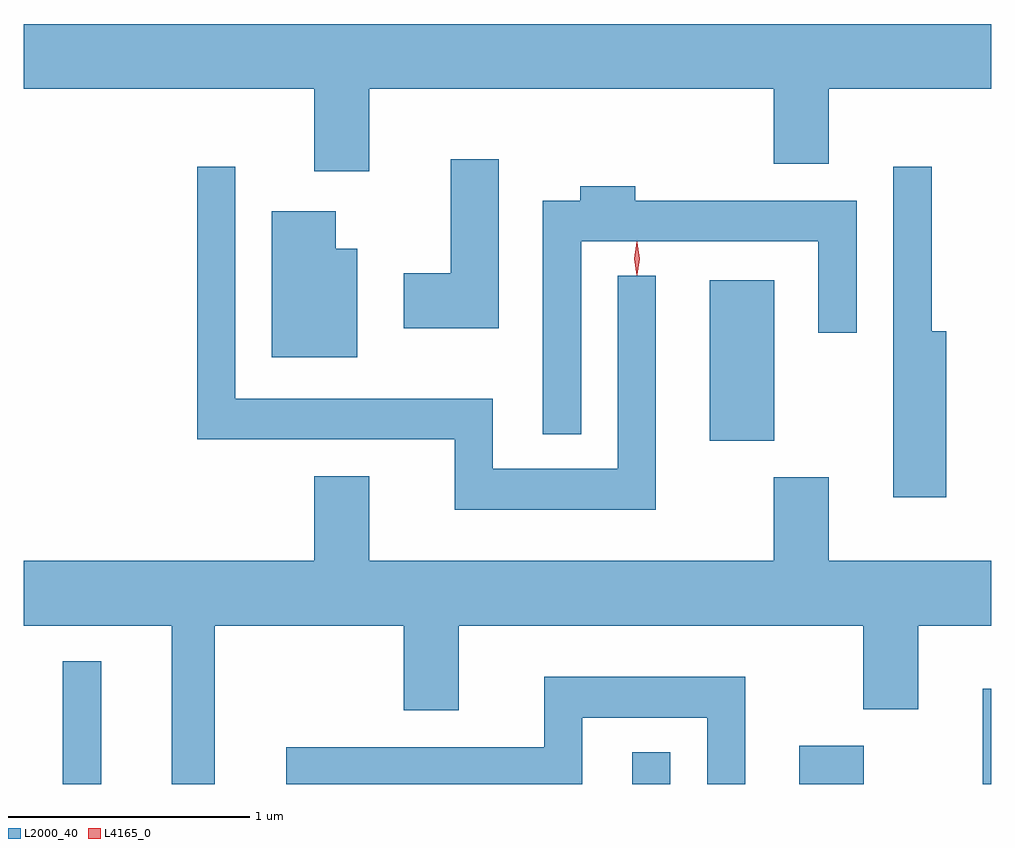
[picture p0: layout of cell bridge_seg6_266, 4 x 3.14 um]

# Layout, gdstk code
import gdstk
lib = gdstk.Library(unit=1e-6, precision=1e-09)
def R(c, l, rs):  # rectangles x0, y0, x1, y1
    for r in rs: c.add(gdstk.rectangle(r[:2], r[2:], *l))
def P(c, l, *ps):  # polygons
    for p in ps: c.add(gdstk.Polygon(p, *l))
L2000_40 = (2000, 40)
L4165_0 = (4165, 0)

bridge_seg6_266 = lib.new_cell('bridge_seg6_266')
R(bridge_seg6_266, L2000_40, [(1288.171,1553.821,1288.329,1554.328), (1290.526,1553.821,1290.684,1553.953), (1291.216,1553.821,1291.484,1553.979), (1291.976,1553.821,1292.01,1554.214), (1290.846,1555.241,1291.114,1555.904)])
P(bridge_seg6_266, L2000_40, [(1289.439,1556.696),(1291.111,1556.696),(1291.111,1556.386),(1291.339,1556.386),(1291.339,1556.696),(1292.01,1556.696),(1292.01,1556.964),(1288.01,1556.964),(1288.01,1556.696),(1289.211,1556.696),(1289.211,1556.356),(1289.439,1556.356)],
  [(1289.974,1556.404),(1289.776,1556.404),(1289.776,1555.934),(1289.581,1555.934),(1289.581,1555.706),(1289.974,1555.706)],
  [(1290.624,1555.923),(1290.466,1555.923),(1290.466,1555.124),(1289.949,1555.124),(1289.949,1555.414),(1288.884,1555.414),(1288.884,1556.373),(1288.726,1556.373),(1288.726,1555.246),(1289.791,1555.246),(1289.791,1554.956),(1290.624,1554.956)],
  [(1291.824,1555.694),(1291.764,1555.694),(1291.764,1556.373),(1291.606,1556.373),(1291.606,1555.006),(1291.824,1555.006)],
  [(1290.314,1556.066),(1291.296,1556.066),(1291.296,1555.688),(1291.454,1555.688),(1291.454,1556.234),(1290.539,1556.234),(1290.539,1556.294),(1290.311,1556.294),(1290.311,1556.234),(1290.156,1556.234),(1290.156,1555.268),(1290.314,1555.268)],
  [(1289.389,1556.034),(1289.299,1556.034),(1289.299,1556.189),(1289.036,1556.189),(1289.036,1555.586),(1289.389,1555.586)],
  [(1288.799,1554.476),(1289.581,1554.476),(1289.581,1554.126),(1289.809,1554.126),(1289.809,1554.476),(1291.481,1554.476),(1291.481,1554.131),(1291.709,1554.131),(1291.709,1554.476),(1292.01,1554.476),(1292.01,1554.744),(1291.339,1554.744),(1291.339,1555.089),(1291.111,1555.089),(1291.111,1554.744),(1289.439,1554.744),(1289.439,1555.094),(1289.211,1555.094),(1289.211,1554.744),(1288.01,1554.744),(1288.01,1554.476),(1288.621,1554.476),(1288.621,1553.821),(1288.799,1553.821)],
  [(1290.319,1554.096),(1290.836,1554.096),(1290.836,1553.821),(1290.994,1553.821),(1290.994,1554.264),(1290.161,1554.264),(1290.161,1553.974),(1289.096,1553.974),(1289.096,1553.821),(1290.319,1553.821)])
P(bridge_seg6_266, L4165_0, [(1290.546,1555.927),(1290.546,1555.927),(1290.536,1555.994),(1290.546,1556.06),(1290.546,1556.061),(1290.547,1556.06),(1290.556,1555.994),(1290.547,1555.927)],
  [(1290.545,1555.924),(1290.545,1555.924),(1290.535,1555.993),(1290.545,1556.063),(1290.545,1556.063),(1290.546,1556.063),(1290.555,1555.993),(1290.546,1555.924)])

lib.write_gds('bridge_seg6_266.gds')
